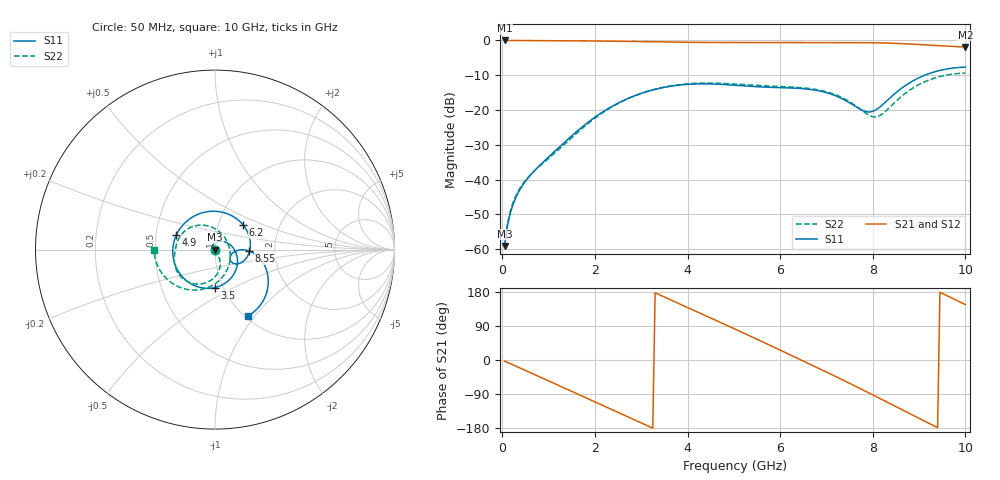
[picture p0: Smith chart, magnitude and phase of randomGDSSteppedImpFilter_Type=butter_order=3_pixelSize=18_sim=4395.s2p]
! freq	dB(S11)	phase(S11)	dB(S12)	phase(S12)
!  dB(S21)	phase(S21)	dB(S22)	phase(S22)
!S-par simulation data
#  GHz  S  DB  R 50
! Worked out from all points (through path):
!   200 points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, 50 MHz to 10 GHz, reference 50 ohm
!   highest |S21| = -0.01 dB at 50 MHz (marker M1); lowest = -1.9 dB at 10 GHz (marker M2)
!   group delay of S21, straight-line fit = 159 ps
!   lowest |S11| = -59.1 dB at 50 MHz (marker M3), VSWR 1.00, Z = 50 - j0.103 ohm
!   |S11| at or under -10 dB: start of sweep to 9.123 GHz
!   |S22| runs from -59.1 to -9.4 dB; largest |S21 - S12| = 0
!   S11 on the Smith chart (normalised r, x): 50 MHz: 1.00, -0.00; 3.5 GHz: 0.91, -0.40; 4.9 GHz: 0.64, +0.11; 6.2 GHz: 1.31, +0.37; 8.55 GHz: 1.46, -0.02; 10 GHz: 1.03, -0.92
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0.05  -59.07 -67.8  -0.01 -2.8  -0.01 -2.8  -59.14 -60.5
0.15  -50.83 -98.2  -0.02 -8.3  -0.02 -8.3  -50.26 -79.2
0.4  -42.45 -136.9  -0.03 -22.1  -0.03 -22.1  -42.04 -84.0
1.1  -32.27 127.1  -0.07 -60.6  -0.07 -60.6  -32.78 -70.6
1.75  -24.60 51.4  -0.13 -96.6  -0.13 -96.6  -24.99 -64.2
2.2  -20.29 9.9  -0.18 -121.6  -0.18 -121.6  -20.49 -72.4
2.65  -17.05 -26.7  -0.26 -146.6  -0.26 -146.6  -17.13 -85.8
3.4  -13.75 -83.1  -0.43 171.8  -0.43 171.8  -13.69 -112.5
3.5  -13.48 -90.5  -0.45 166.3  -0.45 166.3  -13.40 -116.1
4.25  -12.49 -146.9  -0.57 124.9  -0.57 124.9  -12.28 -142.1
4.9  -12.76 159.6  -0.59 88.7  -0.59 88.7  -12.44 -161.0
5.05  -12.90 146.3  -0.59 80.2  -0.59 80.2  -12.56 -164.7
5.6  -13.37 95.4  -0.60 49.0  -0.60 49.0  -13.02 -176.9
6.2  -13.63 40.8  -0.62 14.6  -0.62 14.6  -13.37 168.7
6.7  -14.16 1.7  -0.63 -14.4  -0.63 -14.4  -13.95 151.2
7.15  -15.66 -25.6  -0.63 -40.7  -0.63 -40.7  -15.38 128.2
7.6  -18.76 -37.0  -0.63 -67.6  -0.63 -67.6  -18.48 92.4
8.05  -20.08 -11.9  -0.68 -95.1  -0.68 -95.1  -21.99 19.0
8.35  -16.79 -0.3  -0.77 -113.8  -0.77 -113.8  -19.45 -39.7
8.55  -14.48 -2.2  -0.87 -126.3  -0.87 -126.3  -16.89 -66.3
9.25  -9.38 -29.2  -1.39 -169.4  -1.39 -169.4  -11.20 -127.0
10  -7.68 -63.9  -1.87 146.3  -1.87 146.3  -9.39 -179.2
